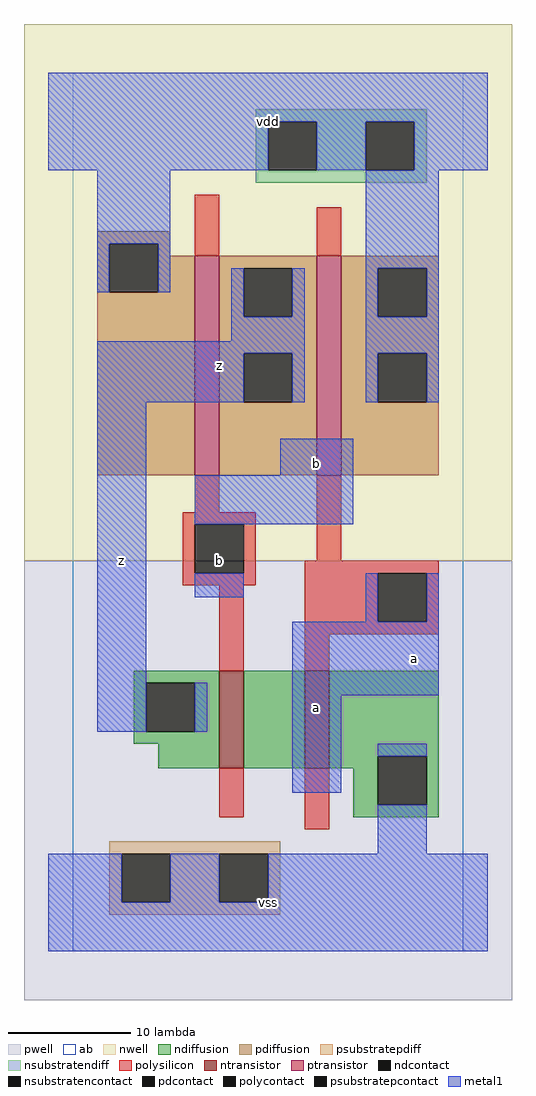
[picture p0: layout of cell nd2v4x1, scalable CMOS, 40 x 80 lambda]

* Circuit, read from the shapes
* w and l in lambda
.subckt nd2v4x1 a b vdd vss z
M1 n1 b z vss nfet w=8 l=2
M2 vss a n1 vss nfet w=8 l=2
M3 z b vdd vdd pfet w=18 l=2
M4 vdd a z vdd pfet w=18 l=2
.ends

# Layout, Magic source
magic
tech scmos
<< ab >>
rect 0 0 32 72
<< pwell >>
rect -4 -4 36 32
<< nwell >>
rect -4 32 36 76
<< polysilicon >>
rect 10 57 12 62
rect 20 57 22 61
rect 10 36 12 39
rect 9 35 15 36
rect 9 31 10 35
rect 14 31 15 35
rect 20 32 22 39
rect 9 30 15 31
rect 19 31 30 32
rect 12 23 14 30
rect 19 27 25 31
rect 29 27 30 31
rect 19 26 30 27
rect 19 23 21 26
rect 12 11 14 15
rect 19 10 21 15
<< ndiffusion >>
rect 5 22 12 23
rect 5 18 6 22
rect 10 18 12 22
rect 5 17 12 18
rect 7 15 12 17
rect 14 15 19 23
rect 21 16 30 23
rect 21 15 25 16
rect 23 12 25 15
rect 29 12 30 16
rect 23 11 30 12
<< pdiffusion >>
rect 2 58 8 59
rect 2 54 3 58
rect 7 57 8 58
rect 7 54 10 57
rect 2 39 10 54
rect 12 56 20 57
rect 12 52 14 56
rect 18 52 20 56
rect 12 49 20 52
rect 12 45 14 49
rect 18 45 20 49
rect 12 39 20 45
rect 22 56 30 57
rect 22 52 25 56
rect 29 52 30 56
rect 22 49 30 52
rect 22 45 25 49
rect 29 45 30 49
rect 22 39 30 45
<< metal1 >>
rect -2 68 34 72
rect -2 64 16 68
rect 20 64 24 68
rect 28 64 34 68
rect 2 58 8 64
rect 2 54 3 58
rect 7 54 8 58
rect 24 56 30 64
rect 13 52 14 56
rect 18 52 19 56
rect 13 50 19 52
rect 2 49 19 50
rect 2 45 14 49
rect 18 45 19 49
rect 24 52 25 56
rect 29 52 30 56
rect 24 49 30 52
rect 24 45 25 49
rect 29 45 30 49
rect 2 18 6 45
rect 17 39 23 42
rect 10 35 23 39
rect 10 29 14 31
rect 24 27 25 31
rect 29 27 30 31
rect 10 18 11 22
rect 18 21 30 27
rect 18 13 22 21
rect 25 16 29 17
rect 25 8 29 12
rect -2 4 4 8
rect 8 4 12 8
rect 16 4 34 8
rect -2 0 34 4
<< ntransistor >>
rect 12 15 14 23
rect 19 15 21 23
<< ptransistor >>
rect 10 39 12 57
rect 20 39 22 57
<< polycontact >>
rect 10 31 14 35
rect 25 27 29 31
<< ndcontact >>
rect 6 18 10 22
rect 25 12 29 16
<< pdcontact >>
rect 3 54 7 58
rect 14 52 18 56
rect 14 45 18 49
rect 25 52 29 56
rect 25 45 29 49
<< psubstratepcontact >>
rect 4 4 8 8
rect 12 4 16 8
<< nsubstratencontact >>
rect 16 64 20 68
rect 24 64 28 68
<< psubstratepdiff >>
rect 3 8 17 9
rect 3 4 4 8
rect 8 4 12 8
rect 16 4 17 8
rect 3 3 17 4
<< nsubstratendiff >>
rect 15 68 29 69
rect 15 64 16 68
rect 20 64 24 68
rect 28 64 29 68
rect 15 63 29 64
<< labels >>
rlabel metal1 4 32 4 32 6 z
rlabel polycontact 12 32 12 32 6 b
rlabel metal1 12 48 12 48 6 z
rlabel metal1 16 4 16 4 6 vss
rlabel metal1 20 20 20 20 6 a
rlabel metal1 20 40 20 40 6 b
rlabel metal1 16 68 16 68 6 vdd
rlabel metal1 28 24 28 24 6 a
<< end >>
